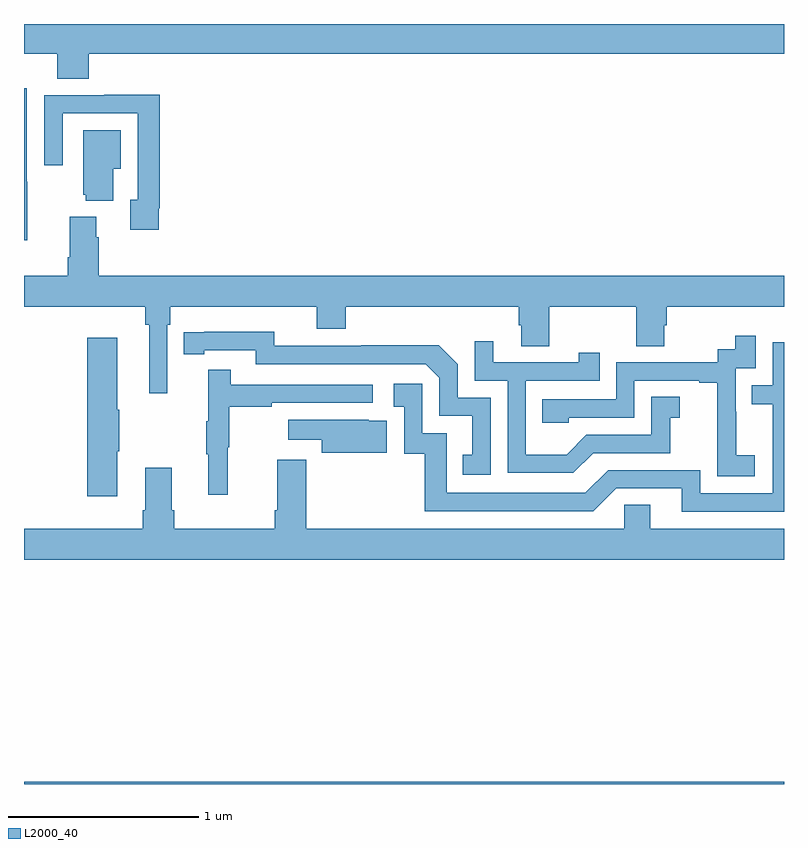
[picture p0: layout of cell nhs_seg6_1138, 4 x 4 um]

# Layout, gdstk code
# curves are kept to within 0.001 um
import gdstk
lib = gdstk.Library(unit=1e-6, precision=1e-09)
def R(c, l, rs):  # rectangles x0, y0, x1, y1
    for r in rs: c.add(gdstk.rectangle(r[:2], r[2:], *l))
def P(c, l, *ps):  # polygons
    for p in ps: c.add(gdstk.Polygon(p, *l))
L2000_40 = (2000, 40)

nhs_seg6_1138 = lib.new_cell('nhs_seg6_1138')
R(nhs_seg6_1138, L2000_40, [(181,935.5,185,935.512)])
P(nhs_seg6_1138, L2000_40, [(181.34,939.344),(185,939.344),(185,939.5),(181,939.5),(181,939.344),(181.175,939.344),(181.175,939.211),(181.34,939.211)],
  [(181.017,938.669),(181.014,938.669),(181.014,939.163),(181,939.163),(181,938.363),(181.017,938.363)],
  [(181.708,938.53),(181.715,938.53),(181.715,939.128),(181.423,939.128),(181.423,939.126),(181.107,939.126),(181.107,938.757),(181.203,938.757),(181.203,939.03),(181.599,939.03),(181.599,938.574),(181.559,938.574),(181.559,938.418),(181.708,938.418)],
  [(181.471,938.738),(181.51,938.738),(181.51,938.941),(181.313,938.941),(181.313,938.601),(181.325,938.601),(181.325,938.57),(181.471,938.57)],
  [(181.755,937.916),(181.769,937.916),(181.769,938.012),(182.54,938.012),(182.54,937.895),(182.693,937.895),(182.693,938.012),(183.605,938.012),(183.605,937.914),(183.617,937.914),(183.617,937.804),(183.765,937.804),(183.765,938.012),(184.222,938.012),(184.222,937.804),(184.369,937.804),(184.369,937.914),(184.382,937.914),(184.382,938.012),(185,938.012),(185,938.176),(181.394,938.176),(181.394,938.378),(181.381,938.378),(181.381,938.485),(181.241,938.485),(181.241,938.272),(181.229,938.272),(181.229,938.176),(181,938.176),(181,938.012),(181.639,938.012),(181.639,937.916),(181.658,937.916),(181.658,937.557),(181.755,937.557)],
  [(183.456,937.533),(183.282,937.533),(183.282,937.71),(183.184,937.808),(182.776,937.808),(182.776,937.806),(182.316,937.806),(182.316,937.879),(181.84,937.878),(181.84,937.762),(181.948,937.762),(181.948,937.782),(182.22,937.782),(182.22,937.71),(183.114,937.71),(183.186,937.638),(183.186,937.437),(183.359,937.437),(183.359,937.233),(183.31,937.233),(183.31,937.128),(183.456,937.128)],
  [(184.846,937.231),(184.748,937.231),(184.748,937.46),(184.746,937.46),(184.746,937.689),(184.851,937.689),(184.851,937.858),(184.743,937.858),(184.743,937.788),(184.65,937.788),(184.65,937.719),(184.116,937.719),(184.116,937.524),(183.727,937.524),(183.727,937.401),(183.867,937.401),(183.867,937.428),(184.212,937.428),(184.212,937.623),(184.553,937.623),(184.553,937.611),(184.649,937.611),(184.649,937.327),(184.648,937.327),(184.648,937.121),(184.846,937.121)],
  [(181.492,937.252),(181.5,937.252),(181.5,937.469),(181.492,937.469),(181.492,937.849),(181.334,937.849),(181.334,937.014),(181.492,937.014)],
  [(183.997,937.242),(184.401,937.242),(184.401,937.427),(184.45,937.427),(184.45,937.537),(184.302,937.537),(184.302,937.338),(183.96,937.338),(183.856,937.234),(183.642,937.234),(183.642,937.623),(184.031,937.623),(184.031,937.771),(183.92,937.771),(183.92,937.719),(183.469,937.719),(183.469,937.831),(183.372,937.831),(183.372,937.623),(183.546,937.623),(183.546,937.137),(183.892,937.137)],
  [(185,937.824),(184.941,937.824),(184.941,937.599),(184.831,937.599),(184.831,937.498),(184.941,937.498),(184.941,937.029),(184.56,937.029),(184.56,937.152),(184.074,937.152),(183.954,937.032),(183.225,937.032),(183.225,937.347),(183.096,937.347),(183.096,937.606),(182.946,937.606),(182.946,937.486),(183,937.486),(183,937.239),(183.109,937.239),(183.109,936.936),(183.996,936.936),(184.116,937.056),(184.463,937.056),(184.463,936.933),(185,936.933)],
  [(182.072,937.272),(182.08,937.272),(182.08,937.486),(182.303,937.486),(182.303,937.506),(182.836,937.506),(182.836,937.602),(182.087,937.602),(182.087,937.681),(181.97,937.681),(181.97,937.409),(181.959,937.409),(181.959,937.235),(181.97,937.235),(181.97,937.023),(182.072,937.023)],
  [(182.91,937.413),(182.814,937.413),(182.814,937.417),(182.391,937.417),(182.391,937.313),(182.567,937.313),(182.567,937.244),(182.91,937.244)],
  [(185,936.844),(184.297,936.844),(184.297,936.971),(184.158,936.971),(184.158,936.844),(182.486,936.844),(182.486,937.207),(182.333,937.207),(182.333,936.94),(182.321,936.94),(182.321,936.844),(181.79,936.844),(181.79,936.94),(181.777,936.94),(181.777,937.165),(181.637,937.165),(181.637,936.94),(181.625,936.94),(181.625,936.844),(181,936.844),(181,936.68),(185,936.68)])

lib.write_gds('nhs_seg6_1138.gds')
